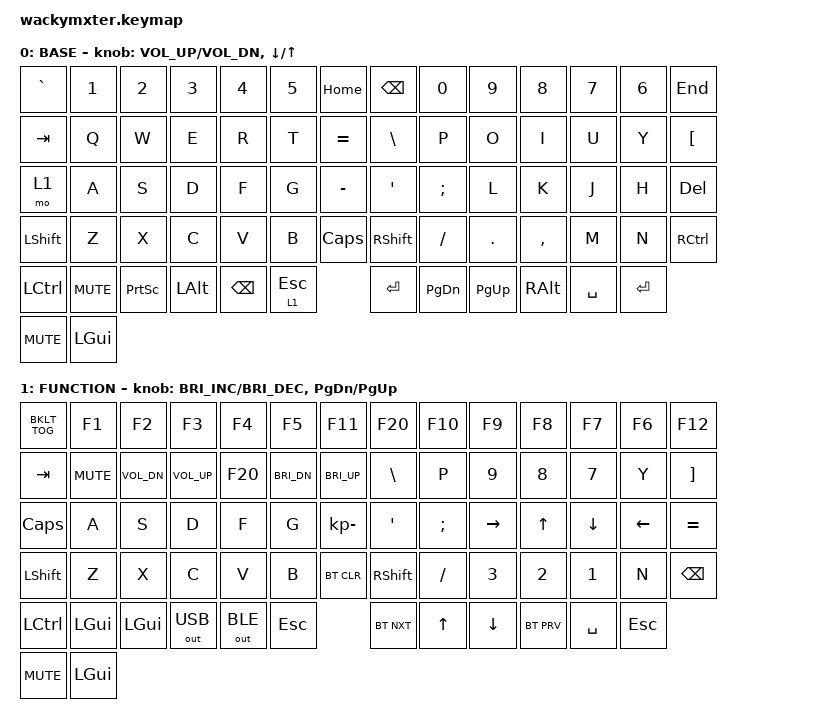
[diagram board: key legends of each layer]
#include <behaviors.dtsi>
#include <dt-bindings/zmk/keys.h>
#include <dt-bindings/zmk/bt.h>
#include <dt-bindings/zmk/outputs.h>

#define BASE 0
#define FUNCTION 1


/ {
    keymap {
        compatible = "zmk,keymap";

        default_layer {
            label= "BASE";
            bindings = <
                &kp GRAVE      &kp N1      &kp N2      &kp N3      &kp N4     &kp N5         &kp HOME      &kp BSPC       &kp N0      &kp N9      &kp N8      &kp N7     &kp N6         &kp END  
                &kp TAB        &kp Q       &kp W       &kp E       &kp R      &kp T          &kp EQUAL     &kp BACKSLASH  &kp P       &kp O       &kp I       &kp U      &kp Y          &kp LBKT
                &mo 1          &kp A       &kp S       &kp D       &kp F      &kp G          &kp MINUS     &kp SQT        &kp SEMI    &kp L       &kp K       &kp J      &kp H          &kp DEL
                &kp LSHFT      &kp Z       &kp X       &kp C       &kp V      &kp B          &kp CAPS      &kp RSHFT      &kp SLASH   &kp PERIOD  &kp COMMA   &kp M      &kp N          &kp RCTRL 
                &kp LCTRL      &kp C_MUTE  &kp PSCRN   &kp LALT    &kp BSPC   &lt 1 ESC                    &kp ENTER      &kp PG_DN   &kp PG_UP   &kp RALT    &kp SPACE  &kp ENTER
                &kp C_MUTE     &kp LGUI
            >;

            sensor-bindings = <&inc_dec_kp C_VOL_UP C_VOL_DN &inc_dec_kp DOWN UP>;
        };

        // Hold the middle thumb key to access this layer: functions and bluetooth pairing
        bluetooth_layer {
            label= "FUNCTION";
            bindings = <
                &kp C_BKLT_TOG &kp F1      &kp F2      &kp F3      &kp F4     &kp F5         &kp F11       &kp F20        &kp F10     &kp F9      &kp F8      &kp F7     &kp F6         &kp F12
                &kp TAB       &kp C_MUTE  &kp C_VOL_DN &kp C_VOL_UP &kp F20   &kp C_BRI_DN   &kp C_BRI_UP  &kp BACKSLASH  &kp P       &kp N9      &kp N8      &kp N7     &kp Y          &kp RBKT
                &kp CAPS       &kp A       &kp S       &kp D       &kp F      &kp G          &kp KP_MINUS  &kp SQT        &kp SEMI    &kp RIGHT   &kp UP      &kp DOWN   &kp LEFT       &kp EQUAL
                &kp LSHFT      &kp Z       &kp X       &kp C       &kp V      &kp B          &bt BT_CLR    &kp RSHFT      &kp SLASH   &kp N3      &kp N2      &kp N1     &kp N          &kp BSPC
                &kp LCTRL      &kp LGUI    &kp LGUI    &out OUT_USB    &out OUT_BLE &kp ESC                &bt BT_NXT     &kp UP      &kp DOWN    &bt BT_PRV  &kp SPACE  &kp ESC 
                &kp C_MUTE     &kp LGUI
            >;

            // Rotary becomes brightness and faster scroll
            sensor-bindings = <&inc_dec_kp C_BRIGHTNESS_INC C_BRIGHTNESS_DEC &inc_dec_kp PAGE_DOWN PAGE_UP>;
        };
    };
};

